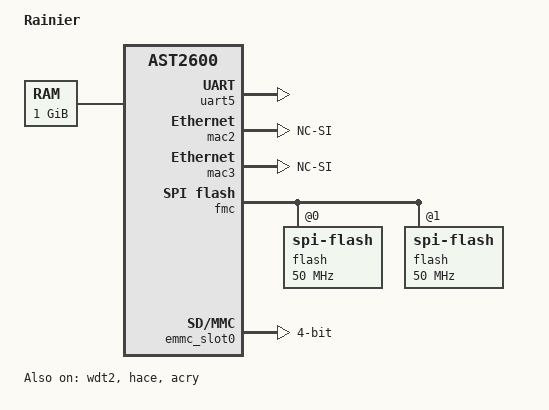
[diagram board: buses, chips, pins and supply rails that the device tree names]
// SPDX-License-Identifier: GPL-2.0+
// Copyright 2020 IBM Corp.
/dts-v1/;

#include "ast2600-u-boot.dtsi"

/ {
        model = "Rainier";
        compatible = "ibm,rainier-bmc", "aspeed,ast2600";

	memory {
		device_type = "memory";
		reg = <0x80000000 0x40000000>;
	};

	chosen {
		stdout-path = &uart5;
	};

	aliases {
		mmc0 = &emmc_slot0;
		spi0 = &fmc;
		spi1 = &spi1;
	};

	cpus {
		cpu@0 {
			// TODO: is this required?
			clock-frequency = <800000000>;
		};
		cpu@1 {
			clock-frequency = <800000000>;
		};
	};
};

&uart5 {
	u-boot,dm-pre-reloc;
	status = "okay";
};

&sdrammc {
	clock-frequency = <400000000>;
};

&wdt2 {
	u-boot,dm-pre-reloc;
	status = "okay";
};

&mac2 {
	status = "okay";

	phy-mode = "NC-SI";
	use-ncsi;
	pinctrl-names = "default";
	pinctrl-0 = <&pinctrl_rmii3_default &pinctrl_rmii3rclk_default>;
};

&mac3 {
	status = "okay";

	phy-mode = "NC-SI";
	use-ncsi;
	pinctrl-names = "default";
	pinctrl-0 = <&pinctrl_rmii4_default &pinctrl_rmii4rclk_default>;
};

&fmc {
	status = "okay";

	pinctrl-names = "default";
	pinctrl-0 = <&pinctrl_fmcquad_default>;

	flash@0 {
		// TODO: what compatible strings should be here?
		compatible = "spi-flash", "sst,w25q256";
		status = "okay";
		spi-max-frequency = <50000000>;
		spi-tx-bus-width = <2>;
		spi-rx-bus-width = <2>;
	};

	flash@1 {
		compatible = "spi-flash", "sst,w25q256";
		status = "okay";
		spi-max-frequency = <50000000>;
		spi-tx-bus-width = <2>;
		spi-rx-bus-width = <2>;
	};
};

&emmc {
	u-boot,dm-pre-reloc;
	timing-phase = <0x700ff>;
};

&emmc_slot0 {
	u-boot,dm-pre-reloc;
	status = "okay";
	bus-width = <4>;
	pinctrl-names = "default";
	pinctrl-0 = <&pinctrl_emmc_default>;
	sdhci-drive-type = <1>;
};

&gpio0 {
        gpio-line-names =
        /*A0-A7*/       "","","","","","","","",
        /*B0-B7*/       "","","","","","","checkstop","",
        /*C0-C7*/       "","","","","","","","",
        /*D0-D7*/       "","","","","","","","",
        /*E0-E7*/       "","","","","","","","",
        /*F0-F7*/       "","","","","","","factory-reset-toggle","",
        /*G0-G7*/       "","","","","","","","",
        /*H0-H7*/       "","bmc-ingraham0","rear-enc-id0","rear-enc-fault0","","","","",
        /*I0-I7*/       "","","","","","","","",
        /*J0-J7*/       "","","","","","","","",
        /*K0-K7*/       "","","","","","","","",
        /*L0-L7*/       "","","","","","","","",
        /*M0-M7*/       "","","","","","","","",
        /*N0-N7*/       "","","","","","","","",
        /*O0-O7*/       "","","","usb-power","","","","",
        /*P0-P7*/       "","","","","pcieslot-power","","","",
        /*Q0-Q7*/       "cfam-reset","","","","","","","",
        /*R0-R7*/       "bmc-tpm-reset","power-chassis-control","power-chassis-good","","","","","",
        /*S0-S7*/       "presence-ps0","presence-ps1","presence-ps2","presence-ps3",
                                "","","","",
        /*T0-T7*/       "","","","","","","","",
        /*U0-U7*/       "","","","","","","","",
        /*V0-V7*/       "","","","","","","","",
        /*W0-W7*/       "","","","","","","","",
        /*X0-X7*/       "","","","","","","","",
        /*Y0-Y7*/       "","","","","","","","",
        /*Z0-Z7*/       "","","","","","","","";
};

&hace {
	u-boot,dm-pre-reloc;
	status = "okay";
};

&acry {
	u-boot,dm-pre-reloc;
	status = "okay";
};
